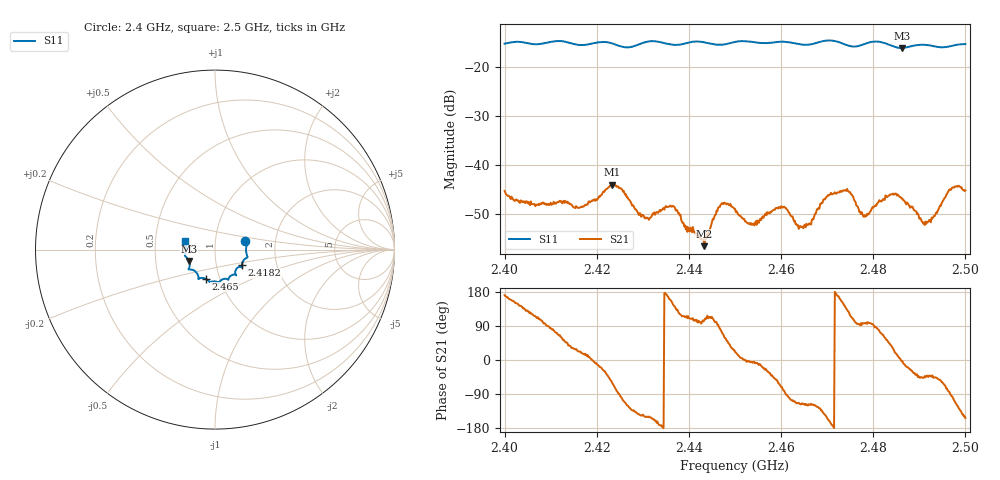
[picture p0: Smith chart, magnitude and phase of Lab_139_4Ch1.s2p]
# Hz S RI R 50
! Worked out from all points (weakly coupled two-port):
!   601 points, 2.4 GHz to 2.5 GHz, reference 50 ohm
!   highest |S21| = -44.08 dB at 2.4233 GHz (marker M1); lowest = -56.7 dB at 2.4433 GHz (marker M2)
!   lowest |S11| = -16.0 dB at 2.4862 GHz (marker M3), VSWR 1.38, Z = 37.1 - j4.82 ohm
!   |S11| at or under -10 dB: start of sweep to end of sweep
!   S12 and S22 are empty: the file has one direction only
!   S11 on the Smith chart (normalised r, x): 2.4 GHz: 1.40, +0.13; 2.4182 GHz: 1.33, -0.23; 2.465 GHz: 0.86, -0.29; 2.5 GHz: 0.71, +0.07
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2.4e9  0.1688 0.0458  -0.00534 0.000829  0 0  0 0
2.416667e9  0.1548 -0.0684  0.00355 0.00116  0 0  0 0
2.418167e9  0.1497 -0.0852  0.0041 0.000562  0 0  0 0
2.423333e9  0.1473 -0.0971  0.0031 -0.00542  0 0  0 0
2.430167e9  0.1142 -0.1382  -0.00253 -0.00164  0 0  0 0
2.433333e9  0.1166 -0.1412  -0.00315 -0.000661  0 0  0 0
2.4365e9  0.0946 -0.1419  -0.0032 0.00204  0 0  0 0
2.443333e9  0.0709 -0.166  -0.00037 0.00142  0 0  0 0
2.446833e9  0.0453 -0.1645  0.000608 0.00382  0 0  0 0
2.45e9  0.025 -0.1807  0.0033 0.0013  0 0  0 0
2.453833e9  0.015 -0.1815  0.00244 -0.000311  0 0  0 0
2.4605e9  -0.0292 -0.1811  0.000643 -0.00364  0 0  0 0
2.465e9  -0.0527 -0.1621  -0.00111 -0.00212  0 0  0 0
2.466667e9  -0.0714 -0.1576  -0.00127 -0.00239  0 0  0 0
2.471167e9  -0.0923 -0.1635  -0.00497 -0.000627  0 0  0 0
2.4745e9  -0.0984 -0.1359  -0.0034 0.00421  0 0  0 0
2.478333e9  -0.1362 -0.1107  -0.00032 0.00293  0 0  0 0
2.483333e9  -0.142 -0.0961  0.00334 0.00349  0 0  0 0
2.486167e9  -0.1448 -0.0634  0.00458 -0.000269  0 0  0 0
2.491333e9  -0.1672 -0.0315  0.00183 -0.00187  0 0  0 0
2.496833e9  -0.163 0.0258  -0.000236 -0.00552  0 0  0 0
2.5e9  -0.1667 0.047  -0.00488 -0.00247  0 0  0 0
